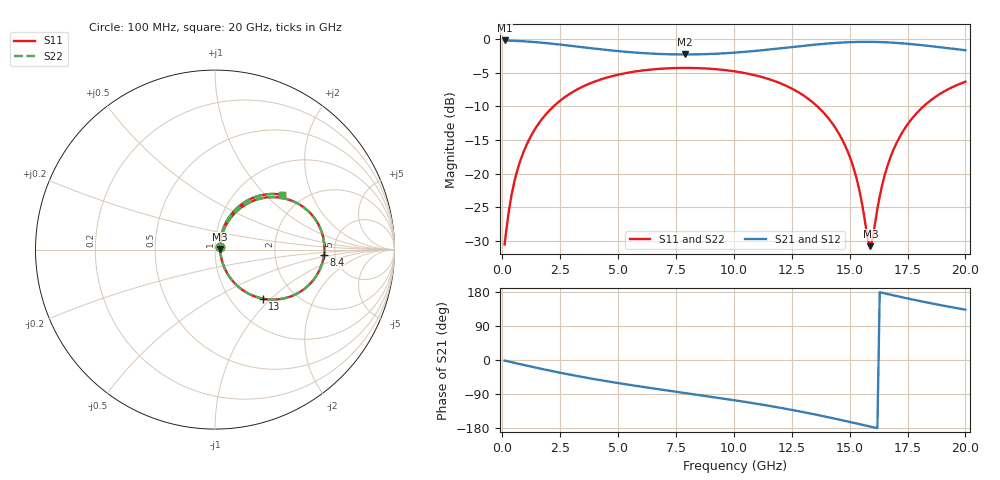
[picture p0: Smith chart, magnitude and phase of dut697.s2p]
! Touchstone file exported from HFSS 2026.1.0
!  File:  C:/ffzhzh/LocalFiles/Ansys_Project_Files/temp_train_TSV_RDL_697_1783136104_35180.aedt
!  Generated:  11:44:16 AM Jul  4, 2026
!  Design:  TSV_RDL
!  Project:  temp_train_TSV_RDL_697_1783136104_35180
! Variables:
!  h_bsmrdl = 2.68um
!  h_ox = 20um
!  h_rdl = 5um
!  h_sub = 64.91um
!  h_tmrdl = 4.75um
!  h_tsv = 64.91um
!  h_via = 3um
!  l_bsmrdl = 589.85um
!  l_sub = 3661.3um
!  l_tmrdl = 352.8um
!  m_sub = 200um
!  pitch = 50.88um
!  r_tsv = 13.46um
!  s_tmrdl = 10um
!  w_bsmrdl = 15.11um
!  w_sub = 500um
!  w_tmrdl = 11.74um
!  x_tsv_center1 = 358.67um
!  x_tsv_center2 = 963.63um
!  x_tsv_center3 = 1328.17um
!  x_tsv_center4 = 1933.13um
!  x_tsv_center5 = 2297.67um
!  x_tsv_center6 = 2902.63um
# GHz S MA R 50.000000
! Terminal data exported
! Port[1] = TM_RDL1_1_T1
! Port[2] = TM_RDL5_1_T1
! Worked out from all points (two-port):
!   200 points, 100 MHz to 20 GHz, reference 50 ohm
!   highest |S21| = -0.22 dB at 100 MHz (marker M1); lowest = -2.3 dB at 7.9 GHz (marker M2)
!   |S21| within 3 dB of the highest: start of sweep to end of sweep
!   lowest |S11| = -30.8 dB at 15.9 GHz (marker M3), VSWR 1.06, Z = 53 + j0.336 ohm
!   |S11| at or under -10 dB: start of sweep to 2.218 GHz; 13.6 GHz to 18.19 GHz (4.591 GHz wide, 28.9 % of centre)
!   |S22| runs from -30.8 to -4.3 dB; largest |S21 - S12| = 3.7e-14
!   S11 on the Smith chart (normalised r, x): 100 MHz: 1.05, +0.03; 8.4 GHz: 4.06, -0.39; 13 GHz: 1.39, -0.89; 20 GHz: 1.57, +1.25
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0.1  0.02974 31.9  0.975 -1.5  0.975 -1.5  0.02974 31.9
! Gamma 0 0 0 0
! Port Impedance 50 0 50 0
0.3  0.05491 57.7  0.9731 -4.4  0.9731 -4.4  0.05491 57.7
0.5  0.08394 64.2  0.97 -7.2  0.97 -7.2  0.08394 64.2
1.1  0.1707 64.9  0.957 -15.5  0.957 -15.5  0.1707 64.9
2.1  0.3023 55.9  0.9243 -28.6  0.9243 -28.6  0.3023 55.9
3.5  0.4448 41.1  0.8672 -45.3  0.8672 -45.3  0.4448 41.1
6.8  0.6003 10.5  0.7739 -77.5  0.7739 -77.5  0.6003 10.5
7.9  0.6096 1.3  0.7673 -87.1  0.7673 -87.1  0.6096 1.3
8.4  0.6078 -2.9  0.7687 -91.5  0.7687 -91.5  0.6078 -2.9
10.1  0.5725 -17.5  0.7932 -106.8  0.7932 -106.8  0.5725 -17.5
13  0.3815 -45.7  0.8892 -137.5  0.8892 -137.5  0.3815 -45.7
13.4  0.3392 -49.9  0.9039 -142.4  0.9039 -142.4  0.3392 -49.9
14.3  0.2299 -58.8  0.9323 -153.9  0.9323 -153.9  0.2299 -58.9
14.9  0.1483 -62.7  0.9453 -162.0  0.9453 -162.0  0.1483 -62.7
15.4  0.07816 -59.0  0.9512 -168.9  0.9512 -168.9  0.07817 -59.0
15.8  0.03168 -20.4  0.9523 -174.4  0.9523 -174.4  0.03165 -20.5
15.9  0.0289 6.3  0.952 -175.8  0.952 -175.8  0.02887 6.3
16.4  0.08142 65.1  0.9475 177.3  0.9475 177.3  0.08138 65.2
16.7  0.1232 68.4  0.9425 173.1  0.9425 173.1  0.1232 68.4
17.3  0.2055 66.0  0.9276 165.1  0.9276 165.1  0.2055 66.0
18  0.2937 59.6  0.904 156.0  0.904 156.0  0.2937 59.6
20  0.4814 39.4  0.8252 132.9  0.8252 132.9  0.4814 39.4
